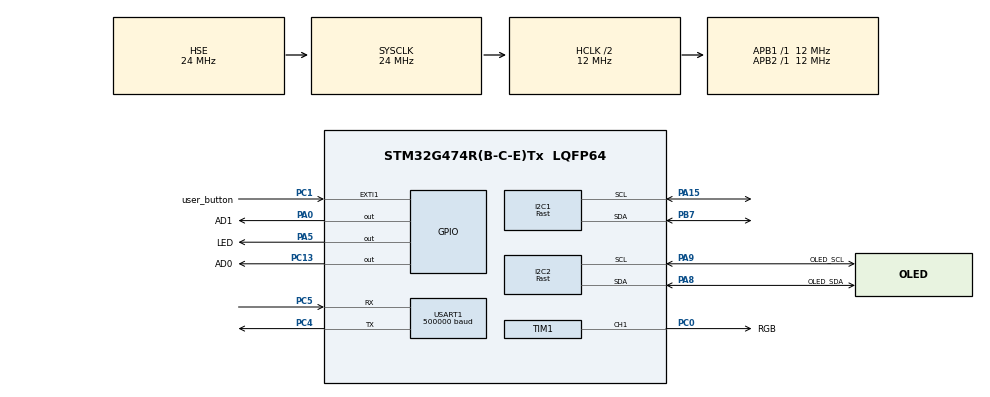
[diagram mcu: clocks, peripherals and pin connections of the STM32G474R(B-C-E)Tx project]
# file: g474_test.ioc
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Dma.I2C2_TX.1.Direction=DMA_MEMORY_TO_PERIPH
Dma.I2C2_TX.1.EventEnable=DISABLE
Dma.I2C2_TX.1.Instance=DMA2_Channel1
Dma.I2C2_TX.1.MemDataAlignment=DMA_MDATAALIGN_HALFWORD
Dma.I2C2_TX.1.MemInc=DMA_MINC_ENABLE
Dma.I2C2_TX.1.Mode=DMA_CIRCULAR
Dma.I2C2_TX.1.PeriphDataAlignment=DMA_PDATAALIGN_HALFWORD
Dma.I2C2_TX.1.PeriphInc=DMA_PINC_DISABLE
Dma.I2C2_TX.1.Polarity=HAL_DMAMUX_REQ_GEN_RISING
Dma.I2C2_TX.1.Priority=DMA_PRIORITY_LOW
Dma.I2C2_TX.1.RequestNumber=1
Dma.I2C2_TX.1.SignalID=NONE
Dma.I2C2_TX.1.SyncEnable=DISABLE
Dma.I2C2_TX.1.SyncPolarity=HAL_DMAMUX_SYNC_NO_EVENT
Dma.I2C2_TX.1.SyncRequestNumber=1
Dma.I2C2_TX.1.SyncSignalID=NONE
Dma.Request0=TIM1_CH1
Dma.Request1=I2C2_TX
Dma.TIM1_CH1.0.Direction=DMA_MEMORY_TO_PERIPH
Dma.TIM1_CH1.0.EventEnable=DISABLE
Dma.TIM1_CH1.0.Instance=DMA1_Channel1
Dma.TIM1_CH1.0.MemDataAlignment=DMA_MDATAALIGN_HALFWORD
Dma.TIM1_CH1.0.MemInc=DMA_MINC_ENABLE
Dma.TIM1_CH1.0.Mode=DMA_CIRCULAR
Dma.TIM1_CH1.0.PeriphDataAlignment=DMA_PDATAALIGN_HALFWORD
Dma.TIM1_CH1.0.PeriphInc=DMA_PINC_DISABLE
Dma.TIM1_CH1.0.Polarity=HAL_DMAMUX_REQ_GEN_RISING
Dma.TIM1_CH1.0.Priority=DMA_PRIORITY_LOW
Dma.TIM1_CH1.0.RequestNumber=1
Dma.TIM1_CH1.0.SignalID=NONE
Dma.TIM1_CH1.0.SyncEnable=DISABLE
Dma.TIM1_CH1.0.SyncPolarity=HAL_DMAMUX_SYNC_NO_EVENT
Dma.TIM1_CH1.0.SyncRequestNumber=1
Dma.TIM1_CH1.0.SyncSignalID=NONE
FREERTOS.Tasks01=defaultTask,24,128,StartDefaultTask,Default,NULL,Dynamic,NULL,NULL;Get_Angle,24,256,Get_Angle_Task,Default,NULL,Dynamic,NULL,NULL;Oled_Display,24,128,Oled_Display_Task,Default,NULL,Dynamic,NULL,NULL;RGB,24,128,RGB_Tack,Default,NULL,Dynamic,NULL,NULL
I2C1.I2C_Speed_Mode=I2C_Fast
I2C1.Timing=0x00100413
I2C2.I2C_Speed_Mode=I2C_Fast
I2C2.Timing=0x00100413
Mcu.Family=STM32G4
Mcu.Name=STM32G474R(B-C-E)Tx
Mcu.Package=LQFP64
NVIC.DMA1_Channel1_IRQn=true\:5\:0\:false\:false\:true\:true\:false\:true\:true
NVIC.DMA2_Channel1_IRQn=true\:5\:0\:false\:false\:true\:true\:false\:true\:true
NVIC.EXTI1_IRQn=true\:5\:0\:false\:false\:true\:false\:true\:true\:true
NVIC.I2C2_ER_IRQn=true\:5\:0\:false\:false\:true\:true\:true\:true\:true
NVIC.PriorityGroup=NVIC_PRIORITYGROUP_4
NVIC.TIM1_TRG_COM_TIM17_IRQn=true\:5\:0\:false\:false\:true\:true\:true\:true\:true
NVIC.TIM2_IRQn=true\:15\:0\:false\:false\:true\:false\:false\:true\:true
NVIC.TimeBase=TIM2_IRQn
NVIC.TimeBaseIP=TIM2
NVIC.USART1_IRQn=true\:5\:0\:false\:false\:true\:true\:true\:true\:true
PA0.GPIO_Label=AD1
PA0.Signal=GPIO_Output
PA13.Mode=Serial_Wire
PA13.Signal=SYS_JTMS-SWDIO
PA14.Mode=Serial_Wire
PA14.Signal=SYS_JTCK-SWCLK
PA15.Mode=I2C
PA15.Signal=I2C1_SCL
PA5.GPIO_Label=LED
PA5.GPIO_PuPd=GPIO_PULLUP
PA5.GPIO_Speed=GPIO_SPEED_FREQ_LOW
PA5.Signal=GPIO_Output
PA8.GPIO_Label=OLED_SDA
PA8.Mode=I2C
PA8.Signal=I2C2_SDA
PA9.GPIO_Label=OLED_SCL
PA9.Mode=I2C
PA9.Signal=I2C2_SCL
PB7.Mode=I2C
PB7.Signal=I2C1_SDA
PC0.GPIO_Label=RGB
PC0.Signal=S_TIM1_CH1
PC1.GPIO_Label=user_button
PC1.Signal=GPXTI1
PC13.GPIO_Label=AD0
PC13.GPIO_PuPd=GPIO_PULLDOWN
PC13.Signal=GPIO_Output
PC14-OSC32_IN.Mode=LSE-External-Oscillator
PC14-OSC32_IN.Signal=RCC_OSC32_IN
PC15-OSC32_OUT.Mode=LSE-External-Oscillator
PC15-OSC32_OUT.Signal=RCC_OSC32_OUT
PC4.Mode=Asynchronous
PC4.Signal=USART1_TX
PC5.Mode=Asynchronous
PC5.Signal=USART1_RX
PF0-OSC_IN.Mode=HSE-External-Oscillator
PF0-OSC_IN.Signal=RCC_OSC_IN
PF1-OSC_OUT.Mode=HSE-External-Oscillator
PF1-OSC_OUT.Signal=RCC_OSC_OUT
ProjectManager.HeapSize=0x200
ProjectManager.StackSize=0x400
ProjectManager.TargetToolchain=Makefile
RCC.ADC12Freq_Value=24000000
RCC.ADC345Freq_Value=24000000
RCC.AHBCLKDivider=RCC_SYSCLK_DIV2
RCC.AHBFreq_Value=12000000
RCC.APB1Freq_Value=12000000
RCC.APB1TimFreq_Value=12000000
RCC.APB2Freq_Value=12000000
RCC.APB2TimFreq_Value=12000000
RCC.CortexFreq_Value=12000000
RCC.EXTERNAL_CLOCK_VALUE=12288000
RCC.HCLKFreq_Value=12000000
RCC.HSE_VALUE=24000000
RCC.HSI48_VALUE=48000000
RCC.HSI_VALUE=16000000
RCC.PLLM=RCC_PLLM_DIV2
RCC.PLLN=12
RCC.PLLR=RCC_PLLR_DIV4
RCC.PLLSourceVirtual=RCC_PLLSOURCE_HSE
RCC.SYSCLKFreq_VALUE=24000000
RCC.SYSCLKSource=RCC_SYSCLKSOURCE_HSE
RCC.USART1CLockSelection=RCC_USART1CLKSOURCE_SYSCLK
RCC.USBFreq_Value=72000000
RCC.VCOOutputFreq_Value=144000000
SH.S_TIM1_CH1.0=TIM1_CH1,PWM Generation1 CH1
TIM1.Channel-PWM\ Generation1\ CH1=TIM_CHANNEL_1
TIM1.PeriodNoDither=20 - 1
USART1.BaudRate=500000
USART1.VirtualMode-Asynchronous=VM_ASYNC
VP_FREERTOS_VS_CMSIS_V2.Mode=CMSIS_V2
VP_SYS_VS_DBSignals.Mode=DisableDeadBatterySignals
VP_SYS_VS_tim2.Mode=TIM2
VP_TIM1_VS_ClockSourceINT.Mode=Internal
board=custom

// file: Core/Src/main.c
/* USER CODE BEGIN Header */
/**
 ******************************************************************************
 * @file           : main.c
 * @brief          : Main program body
 ******************************************************************************
 * @attention
 *
 * Copyright (c) 2024 STMicroelectronics.
 * All rights reserved.
 *
 * This software is licensed under terms that can be found in the LICENSE file
 * in the root directory of this software component.
 * If no LICENSE file comes with this software, it is provided AS-IS.
 *
 ******************************************************************************
 */
/* USER CODE END Header */
#include "main.h"
#include "cmsis_os.h"
#include "dma.h"
#include "i2c.h"
#include "tim.h"
#include "usart.h"
#include "gpio.h"

/* USER CODE BEGIN Includes */
#include <stdarg.h>
#include <stdint.h>
#include <stdio.h>
#include <stm32g4xx_it.h>
/* USER CODE END Includes */

/* USER CODE BEGIN PTD */
// #include "mpu9250.h"
// #include "mpu.h"
#include "inv_mpu.h"
#include "oled.h"
#include "ws2812.h"
#include "mpu.h"

/* USER CODE END PTD */

/* USER CODE BEGIN PM */
static char printf_buff[256];
void uart_printf(char *fmt, ...) {
  va_list args;
  int ret;
  va_start(args, fmt);
  ret = vsprintf(printf_buff, fmt, args);
  va_end(args);
  if (ret > 0) {
    HAL_UART_Transmit(&huart1, (uint8_t *)printf_buff, ret, HAL_MAX_DELAY);
  }
}

extern void CmdProcessing(UART_HandleTypeDef *huart);
extern char chcmd[64];

float angle = 0.0;
u8g2_t u8g2;
/* USER CODE END PM */

void SystemClock_Config(void);
void MX_FREERTOS_Init(void);
/* USER CODE BEGIN PFP */
// printf("mpu9250 Start !\r\n");

/* USER CODE END PFP */

int main(void)
{

  /* MCU Configuration--------------------------------------------------------*/

  /* Reset of all peripherals, Initializes the Flash interface and the Systick. */
  HAL_Init();

  /* Configure the system clock */
  SystemClock_Config();

  /* Initialize all configured peripherals */
  MX_GPIO_Init();
  MX_DMA_Init();
  MX_USART1_UART_Init();
  MX_TIM1_Init();
  MX_I2C1_Init();
  MX_I2C2_Init();
  /* USER CODE BEGIN 2 */
  HAL_UART_RegisterCallback(&huart1, HAL_UART_RX_COMPLETE_CB_ID, CmdProcessing);
  HAL_UART_Receive_IT(&huart1, (uint8_t *)chcmd, 1);
  HAL_GPIO_WritePin(AD0_GPIO_Port, AD0_Pin, GPIO_PIN_RESET);
  HAL_GPIO_WritePin(AD1_GPIO_Port, AD1_Pin, GPIO_PIN_RESET);
  int ret;
  // switch_dev(1);
  // while (ret = mpu_dmp_init())
  // {
  //   uart_printf("Hello World!\n");
  //   HAL_Delay(1000);
  //   HAL_GPIO_TogglePin(LED_GPIO_Port, LED_Pin);
  // }

  // while (ret = mpu_dmp_init()) {
  //   HAL_Delay(1000);
  //   HAL_GPIO_TogglePin(LED_GPIO_Port, LED_Pin);
  // }
  // switch_dev(0);
  // while (ret = mpu_dmp_init()) {
  //   HAL_Delay(2000);
  //   HAL_GPIO_TogglePin(LED_GPIO_Port, LED_Pin);
  // }
  /* USER CODE END 2 */

  /* Init scheduler */
  osKernelInitialize();  /* Call init function for freertos objects (in freertos.c) */
  MX_FREERTOS_Init();

  /* Start scheduler */
  osKernelStart();

  /* We should never get here as control is now taken by the scheduler */
  /* Infinite loop */
  while (1) {

    /* USER CODE BEGIN 3 */

    // float angle = Angle_Get();
    // ssd1306_printf(Font_11x18, "ang:%3.1f", angle);
    // ssd1306_SetCursor(0, 0);
    // WS_WriteAll_RGB(0xff, 0xff, 0xff);
    // breathing();
  }
  /* USER CODE END 3 */
}

void SystemClock_Config(void)
{
  RCC_OscInitTypeDef RCC_OscInitStruct = {0};
  RCC_ClkInitTypeDef RCC_ClkInitStruct = {0};

  /** Configure the main internal regulator output voltage
  */
  HAL_PWREx_ControlVoltageScaling(PWR_REGULATOR_VOLTAGE_SCALE1);

  /** Initializes the RCC Oscillators according to the specified parameters
  * in the RCC_OscInitTypeDef structure.
  */
  RCC_OscInitStruct.OscillatorType = RCC_OSCILLATORTYPE_HSE;
  RCC_OscInitStruct.HSEState = RCC_HSE_ON;
  RCC_OscInitStruct.PLL.PLLState = RCC_PLL_NONE;
  if (HAL_RCC_OscConfig(&RCC_OscInitStruct) != HAL_OK)
  {
    Error_Handler();
  }

  /** Initializes the CPU, AHB and APB buses clocks
  */
  RCC_ClkInitStruct.ClockType = RCC_CLOCKTYPE_HCLK|RCC_CLOCKTYPE_SYSCLK
                              |RCC_CLOCKTYPE_PCLK1|RCC_CLOCKTYPE_PCLK2;
  RCC_ClkInitStruct.SYSCLKSource = RCC_SYSCLKSOURCE_HSE;
  RCC_ClkInitStruct.AHBCLKDivider = RCC_SYSCLK_DIV2;
  RCC_ClkInitStruct.APB1CLKDivider = RCC_HCLK_DIV1;
  RCC_ClkInitStruct.APB2CLKDivider = RCC_HCLK_DIV1;

  if (HAL_RCC_ClockConfig(&RCC_ClkInitStruct, FLASH_LATENCY_0) != HAL_OK)
  {
    Error_Handler();
  }
}

/* USER CODE BEGIN 4 */
uint8_t state = 0;
void HAL_GPIO_EXTI_Callback(uint16_t GPIO_PIN){
  if(GPIO_PIN == user_button_Pin){
    state = (state + 1) % 6;
  }
}

/* USER CODE END 4 */

void HAL_TIM_PeriodElapsedCallback(TIM_HandleTypeDef *htim)
{
  if (htim->Instance == TIM2) {
    HAL_IncTick();
  }
}

void Error_Handler(void)
{
  /* USER CODE BEGIN Error_Handler_Debug */
  /* User can add his own implementation to report the HAL error return state
   */
  __disable_irq();
  while (1) {
  }
  /* USER CODE END Error_Handler_Debug */
}

#ifdef  USE_FULL_ASSERT
/**
  * @brief  Reports the name of the source file and the source line number
  *         where the assert_param error has occurred.
  * @param  file: pointer to the source file name
  * @param  line: assert_param error line source number
  * @retval None
  */
void assert_failed(uint8_t *file, uint32_t line)
{
  /* USER CODE BEGIN 6 */
  /* User can add his own implementation to report the file name and line
     number, ex: printf("Wrong parameters value: file %s on line %d\r\n",
     file, line) */
  /* USER CODE END 6 */
}
#endif /* USE_FULL_ASSERT */

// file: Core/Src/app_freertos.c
/* USER CODE BEGIN Header */
/**
 ******************************************************************************
 * File Name          : app_freertos.c
 * Description        : Code for freertos applications
 ******************************************************************************
 * @attention
 *
 * Copyright (c) 2024 STMicroelectronics.
 * All rights reserved.
 *
 * This software is licensed under terms that can be found in the LICENSE file
 * in the root directory of this software component.
 * If no LICENSE file comes with this software, it is provided AS-IS.
 *
 ******************************************************************************
 */
/* USER CODE END Header */

#include "FreeRTOS.h"
#include "task.h"
#include "main.h"
#include "cmsis_os.h"

/* USER CODE BEGIN Includes */
#include "mpu.h"
#include "oled.h"
#include "ws2812.h"
#include <math.h>
/* USER CODE END Includes */

/* USER CODE BEGIN Variables */
static float angle;
extern u8g2_t u8g2;
extern uint8_t state;
/* USER CODE END Variables */
/* Definitions for defaultTask */
osThreadId_t defaultTaskHandle;
const osThreadAttr_t defaultTask_attributes = {
  .name = "defaultTask",
  .priority = (osPriority_t) osPriorityNormal,
  .stack_size = 128 * 4
};
/* Definitions for Get_Angle */
osThreadId_t Get_AngleHandle;
const osThreadAttr_t Get_Angle_attributes = {
  .name = "Get_Angle",
  .priority = (osPriority_t) osPriorityNormal,
  .stack_size = 256 * 4
};
/* Definitions for Oled_Display */
osThreadId_t Oled_DisplayHandle;
const osThreadAttr_t Oled_Display_attributes = {
  .name = "Oled_Display",
  .priority = (osPriority_t) osPriorityNormal,
  .stack_size = 128 * 4
};
/* Definitions for RGB */
osThreadId_t RGBHandle;
const osThreadAttr_t RGB_attributes = {
  .name = "RGB",
  .priority = (osPriority_t) osPriorityNormal,
  .stack_size = 128 * 4
};

void StartDefaultTask(void *argument);
void Get_Angle_Task(void *argument);
void Oled_Display_Task(void *argument);
void RGB_Tack(void *argument);

void MX_FREERTOS_Init(void); /* (MISRA C 2004 rule 8.1) */

void MX_FREERTOS_Init(void) {

  /* Create the thread(s) */
  /* creation of defaultTask */
  defaultTaskHandle = osThreadNew(StartDefaultTask, NULL, &defaultTask_attributes);

  /* creation of Get_Angle */
  // Get_AngleHandle = osThreadNew(Get_Angle_Task, NULL, &Get_Angle_attributes);

  /* creation of Oled_Display */
  Oled_DisplayHandle = osThreadNew(Oled_Display_Task, NULL, &Oled_Display_attributes);

  /* creation of RGB */
  RGBHandle = osThreadNew(RGB_Tack, NULL, &RGB_attributes);

}

void StartDefaultTask(void *argument)
{
  /* USER CODE BEGIN StartDefaultTask */
  /* Infinite loop */
  for (;;) {
    // HAL_GPIO_TogglePin(LED_GPIO_Port, LED_Pin);
    osDelay(1000);
  }
  /* USER CODE END StartDefaultTask */
}

void Get_Angle_Task(void *argument)
{
  /* USER CODE BEGIN Get_Angle_Task */
  float pitch, roll, yaw;
  if (mpu_dmp_get_data(&pitch, &roll, &yaw) == 0) {
    uart_printf("pitch:%4.1f\n", -pitch);
    ssd1306_printf(Font_11x18, "ang:%3.1f", -pitch);
    ssd1306_SetCursor(0, 0);
    HAL_Delay(50);
  }
  /* Infinite loop */
  for (;;) {
    angle = Angle_Get();
    osDelay(30);
  }
  /* USER CODE END Get_Angle_Task */
}

int cnt = 180;
void Oled_Display_Task(void *argument)
{
  /* USER CODE BEGIN Oled_Display_Task */
  u8g2_Setup_ssd1306_i2c_128x64_noname_f(&u8g2, U8G2_R2, STM32_byte_i2c,
                                         STM32_gpio_and_delay);
  u8g2_InitDisplay(&u8g2);
  u8g2_SetPowerSave(&u8g2, 0);
  u8g2_ClearDisplay(&u8g2);
  u8g2_SetFont(&u8g2, u8g2_font_wqy16_t_chinese1);
  /* Infinite loop */
  int x1, y1, x2, y2;
  int fake_angle;
  for (;;) {
    u8g2_ClearBuffer(&u8g2);
    switch (state) {
    case 0: {
      if(cnt != 90){
        cnt--;
      }
      u8g2_printf(&u8g2, 0, 30, "ang:%d", cnt);
      x1 = 95 - 25 * cos(cnt / 57.3);
      y1 = 30 + 25 * sin(cnt / 57.3);
      x2 = 95 + 25 * cos(cnt / 57.3);
      y2 = 30 - 25 * sin(cnt / 57.3);
      u8g2_DrawCircle(&u8g2, 95, 30, 25, U8G2_DRAW_ALL);
      u8g2_DrawLine(&u8g2, x1, y1, x2, y2);
      u8g2_SendBuffer(&u8g2);
    }break;
    case 1:{
      if(cnt != 67){
        cnt--;
      }
      u8g2_printf(&u8g2, 0, 30, "ang:%d", cnt);
      x1 = 95 - 25 * cos(cnt / 57.3);
      y1 = 30 + 25 * sin(cnt / 57.3);
      x2 = 95 + 25 * cos(cnt / 57.3);
      y2 = 30 - 25 * sin(cnt / 57.3);
      u8g2_DrawCircle(&u8g2, 95, 30, 25, U8G2_DRAW_ALL);
      u8g2_DrawLine(&u8g2, x1, y1, x2, y2);
      u8g2_SendBuffer(&u8g2);
    }break;
    case 2:{
      if(cnt != 45){
        cnt--;
      }
      u8g2_printf(&u8g2, 0, 30, "ang:%d", cnt);
      x1 = 95 - 25 * cos(cnt / 57.3);
      y1 = 30 + 25 * sin(cnt / 57.3);
      x2 = 95 + 25 * cos(cnt / 57.3);
      y2 = 30 - 25 * sin(cnt / 57.3);
      u8g2_DrawCircle(&u8g2, 95, 30, 25, U8G2_DRAW_ALL);
      u8g2_DrawLine(&u8g2, x1, y1, x2, y2);
      u8g2_SendBuffer(&u8g2);
    }break;
    case 3:{
      if(cnt != 107){
        cnt++;
      }
      u8g2_printf(&u8g2, 0, 30, "ang:%d", cnt);
      x1 = 95 - 25 * cos(cnt / 57.3);
      y1 = 30 + 25 * sin(cnt / 57.3);
      x2 = 95 + 25 * cos(cnt / 57.3);
      y2 = 30 - 25 * sin(cnt / 57.3);
      u8g2_DrawCircle(&u8g2, 95, 30, 25, U8G2_DRAW_ALL);
      u8g2_DrawLine(&u8g2, x1, y1, x2, y2);
      u8g2_SendBuffer(&u8g2);
    }break;
    case 4:{
      if(cnt != 136){
        cnt++;
      }
      u8g2_printf(&u8g2, 0, 30, "ang:%d", cnt);
      x1 = 95 - 25 * cos(cnt / 57.3);
      y1 = 30 + 25 * sin(cnt / 57.3);
      x2 = 95 + 25 * cos(cnt / 57.3);
      y2 = 30 - 25 * sin(cnt / 57.3);
      u8g2_DrawCircle(&u8g2, 95, 30, 25, U8G2_DRAW_ALL);
      u8g2_DrawLine(&u8g2, x1, y1, x2, y2);
      u8g2_SendBuffer(&u8g2);
    }break;
    case 5:{
      if(cnt != 180){
        cnt++;
      }
      u8g2_printf(&u8g2, 0, 30, "ang:%d", cnt);
      x1 = 95 - 25 * cos(cnt / 57.3);
      y1 = 30 + 25 * sin(cnt / 57.3);
      x2 = 95 + 25 * cos(cnt / 57.3);
      y2 = 30 - 25 * sin(cnt / 57.3);
      u8g2_DrawCircle(&u8g2, 95, 30, 25, U8G2_DRAW_ALL);
      u8g2_DrawLine(&u8g2, x1, y1, x2, y2);
      u8g2_SendBuffer(&u8g2);
    }break;
    default:break;
    }
    osDelay(30);
  }
  /* USER CODE END Oled_Display_Task */
}

void RGB_Tack(void *argument)
{
  /* USER CODE BEGIN RGB_Tack */
  /* Infinite loop */
  for(;;)
  {
    if(cnt <= 45)
      HAL_GPIO_WritePin(LED_GPIO_Port, LED_Pin, GPIO_PIN_SET);
    else
      HAL_GPIO_WritePin(LED_GPIO_Port, LED_Pin, GPIO_PIN_RESET);
    osDelay(50);
  }
  /* USER CODE END RGB_Tack */
}
